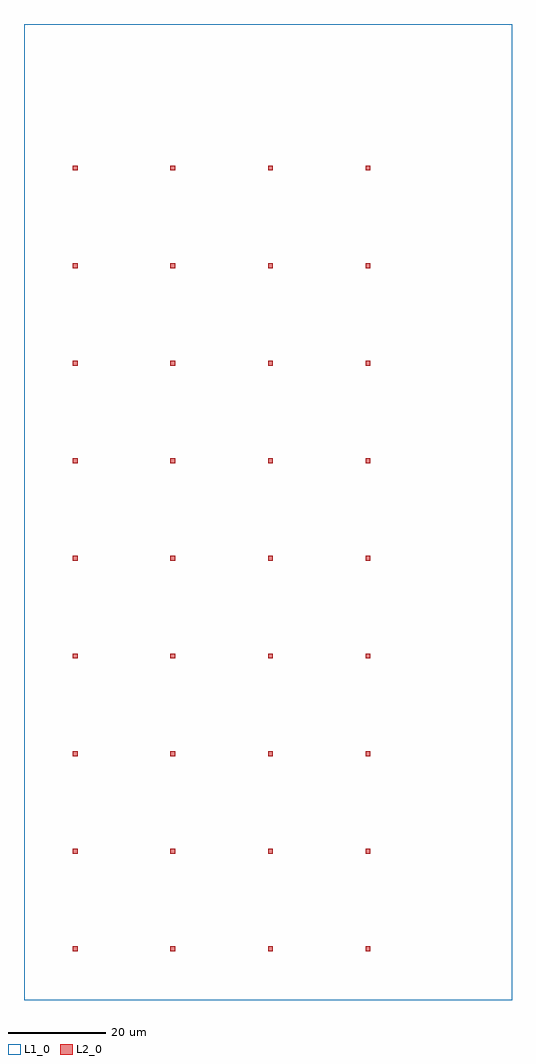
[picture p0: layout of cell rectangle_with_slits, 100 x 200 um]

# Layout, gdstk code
import gdstk
lib = gdstk.Library(unit=1e-6, precision=1e-09)
def R(c, l, rs):  # rectangles x0, y0, x1, y1
    for r in rs: c.add(gdstk.rectangle(r[:2], r[2:], *l))
L1_0 = (1, 0)
L2_0 = (2, 0)

compass_fb58423d = lib.new_cell('compass_fb58423d')
R(compass_fb58423d, L1_0, [(-50,-100,50,100)])

rectangle_fb58423d = lib.new_cell('rectangle_fb58423d')
rectangle_fb58423d.add(gdstk.Reference(compass_fb58423d, (50,100)))

compass_41d70890 = lib.new_cell('compass_41d70890')
R(compass_41d70890, L2_0, [(-0.5,-0.5,0.5,0.5)])

rectangle_41d70890 = lib.new_cell('rectangle_41d70890')
rectangle_41d70890.add(gdstk.Reference(compass_41d70890, (0.5,0.5)))

array_06e6ab85 = lib.new_cell('array_06e6ab85')
r = gdstk.Reference(rectangle_41d70890, (0,0)); r.repetition = gdstk.Repetition(4, 9, v1=(20,0), v2=(0,20)); array_06e6ab85.add(r)

rectangle_with_slits = lib.new_cell('rectangle_with_slits')
rectangle_with_slits.add(gdstk.Reference(rectangle_fb58423d, (0,0)))
rectangle_with_slits.add(gdstk.Reference(array_06e6ab85, (10,10)))

lib.write_gds('rectangle_with_slits.gds')
